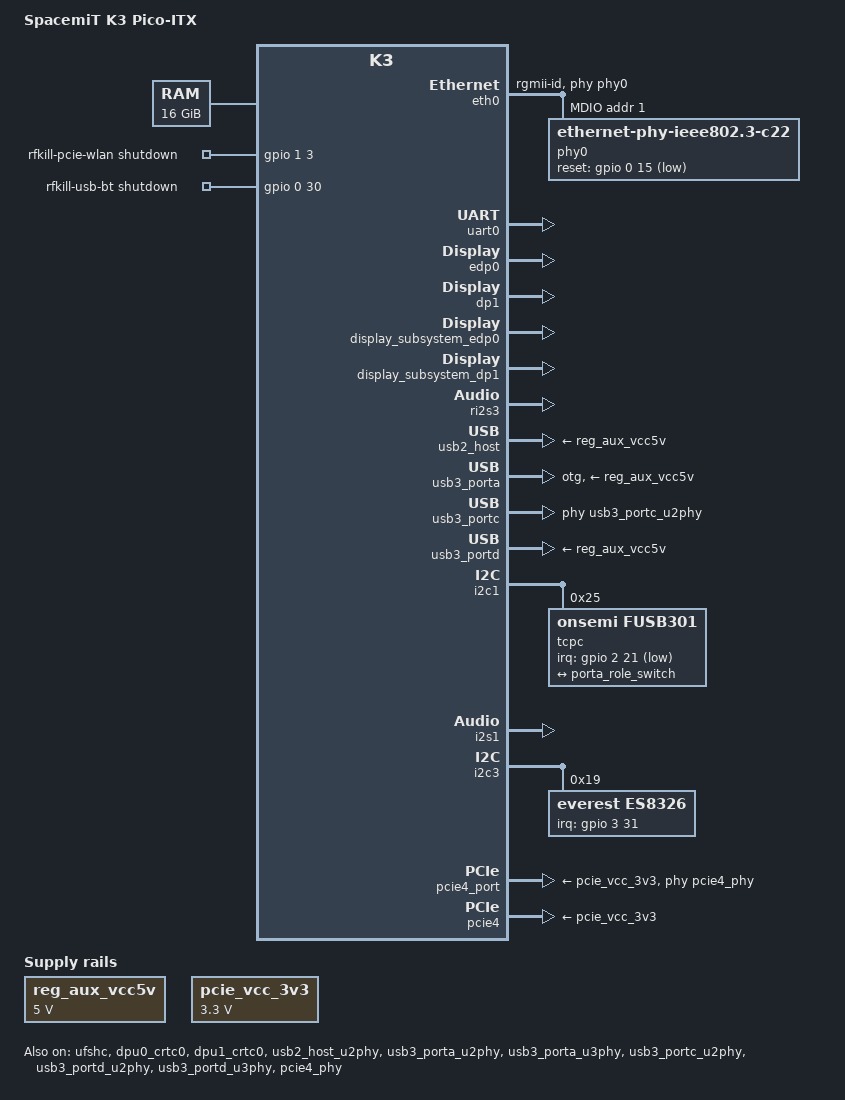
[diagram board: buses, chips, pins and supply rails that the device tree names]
// SPDX-License-Identifier: (GPL-2.0 OR MIT)
/*
 * Copyright (c) 2026 SpacemiT (Hangzhou) Technology Co. Ltd
 * Copyright (c) 2026 Guodong Xu <guodong@riscstar.com>
 */
#include <dt-bindings/gpio/gpio.h>

#include "k3.dtsi"
#include "k3-pinctrl.dtsi"

/ {
	model = "SpacemiT K3 Pico-ITX";
	compatible = "spacemit,k3-pico-itx", "spacemit,k3";

	aliases {
		ethernet0 = &eth0;
		serial0 = &uart0;
	};

	chosen {
		stdout-path = "serial0";
	};

	memory@100000000 {
		device_type = "memory";
		reg = <0x1 0x00000000 0x4 0x00000000>;
	};

	reg_aux_vcc5v: regulator-aux-vcc5v {
		compatible = "regulator-fixed";
		regulator-name = "AUX_VCC5V";
		regulator-min-microvolt = <5000000>;
		regulator-max-microvolt = <5000000>;
		regulator-always-on;
	};

	pcie_vcc_3v3: regulator-pcie-vcc3v3 {
		compatible = "regulator-fixed";
		regulator-name = "PCIE_VCC3V3";
		regulator-min-microvolt = <3300000>;
		regulator-max-microvolt = <3300000>;
		regulator-always-on;
	};

	/*
	 * M.2 WiFi enable line (RTL8852BE on the PCIe x1 slot, port E / pcie4).
	 * rfkill-gpio drives WLAN_EN so the card powers up before PCIe link
	 * training; the radio itself enumerates as a PCI device on pcie4.
	 */
	rfkill-pcie-wlan {
		compatible = "rfkill-gpio";
		label = "rfkill-pcie-wlan";
		pinctrl-names = "default";
		pinctrl-0 = <&wlan_en_cfg>;
		radio-type = "wlan";
		shutdown-gpios = <&gpio 1 3 GPIO_ACTIVE_HIGH>;
	};

	/*
	 * Bluetooth enable line (Realtek RTL8852B, BT side of the combo).
	 * The controller enumerates over USB (btusb); rfkill-gpio drives
	 * BT_EN so the radio powers up.  Per the vendor K3 Pico-ITX BSP.
	 */
	rfkill-usb-bt {
		compatible = "rfkill-gpio";
		label = "rfkill-usb-bt";
		pinctrl-names = "default";
		pinctrl-0 = <&bt_en_cfg>;
		radio-type = "bluetooth";
		shutdown-gpios = <&gpio 0 30 GPIO_ACTIVE_HIGH>;
	};
};

&i2c8 {
	pinctrl-names = "default";
	pinctrl-0 = <&i2c8_cfg>;
	status = "disabled";

	p1@41 {
		compatible = "spacemit,p1";
		reg = <0x41>;
		status = "disabled";
		interrupts = <64 IRQ_TYPE_LEVEL_HIGH>;
		vin1-supply = <&reg_aux_vcc5v>;
		vin2-supply = <&reg_aux_vcc5v>;
		vin3-supply = <&reg_aux_vcc5v>;
		vin4-supply = <&reg_aux_vcc5v>;
		vin5-supply = <&reg_aux_vcc5v>;
		vin6-supply = <&reg_aux_vcc5v>;
		aldoin-supply = <&reg_aux_vcc5v>;
		dldoin1-supply = <&buck4>;
		dldoin2-supply = <&buck4>;

		regulators {
			buck1: buck1 {
				regulator-min-microvolt = <1050000>;
				regulator-max-microvolt = <1050000>;
				regulator-ramp-delay = <5000>;
				regulator-always-on;
			};

			buck2: buck2 {
				regulator-min-microvolt = <1050000>;
				regulator-max-microvolt = <1050000>;
				regulator-ramp-delay = <5000>;
				regulator-always-on;
			};

			buck3: buck3 {
				regulator-min-microvolt = <800000>;
				regulator-max-microvolt = <800000>;
				regulator-ramp-delay = <5000>;
				regulator-always-on;
			};

			buck4: buck4 {
				regulator-min-microvolt = <2100000>;
				regulator-max-microvolt = <2100000>;
				regulator-ramp-delay = <5000>;
				regulator-always-on;
			};

			buck5: buck5 {
				regulator-min-microvolt = <1800000>;
				regulator-max-microvolt = <1800000>;
				regulator-ramp-delay = <5000>;
				regulator-always-on;
			};

			buck6: buck6 {
				regulator-min-microvolt = <500000>;
				regulator-max-microvolt = <500000>;
				regulator-ramp-delay = <5000>;
				regulator-always-on;
			};

			aldo1: aldo1 {
				regulator-min-microvolt = <1800000>;
				regulator-max-microvolt = <3300000>;
				regulator-always-on;
				regulator-boot-on;
			};

			aldo2: aldo2 {
				regulator-min-microvolt = <1800000>;
				regulator-max-microvolt = <1800000>;
				regulator-always-on;
				regulator-boot-on;
			};

			aldo3: aldo3 {
				regulator-min-microvolt = <500000>;
				regulator-max-microvolt = <3400000>;
			};

			aldo4: aldo4 {
				regulator-min-microvolt = <3300000>;
				regulator-max-microvolt = <3300000>;
				regulator-always-on;
				regulator-boot-on;
			};

			dldo1: dldo1 {
				regulator-min-microvolt = <1200000>;
				regulator-max-microvolt = <1200000>;
				regulator-always-on;
				regulator-boot-on;
			};

			dldo2: dldo2 {
				regulator-min-microvolt = <900000>;
				regulator-max-microvolt = <900000>;
				regulator-always-on;
				regulator-boot-on;
			};

			dldo3: dldo3 {
				regulator-min-microvolt = <800000>;
				regulator-max-microvolt = <800000>;
				regulator-always-on;
				regulator-boot-on;
			};

			dldo4: dldo4 {
				regulator-min-microvolt = <1800000>;
				regulator-max-microvolt = <1800000>;
				regulator-boot-on;
			};

			dldo5: dldo5 {
				regulator-min-microvolt = <1800000>;
				regulator-max-microvolt = <1800000>;
				regulator-always-on;
				regulator-boot-on;
			};

			dldo6: dldo6 {
				regulator-min-microvolt = <1800000>;
				regulator-max-microvolt = <1800000>;
				regulator-always-on;
				regulator-boot-on;
			};

			dldo7: dldo7 {
				regulator-min-microvolt = <1800000>;
				regulator-max-microvolt = <1800000>;
				regulator-always-on;
				regulator-boot-on;
			};
		};
	};
};

&eth0 {
	pinctrl-names = "default";
	pinctrl-0 = <&gmac0_rgmii_0_cfg>, <&gmac0_phy_0_cfg>;
	phy-mode = "rgmii-id";
	phy-handle = <&phy0>;
	status = "okay";

	mdio {
		phy0: phy@1 {
			compatible = "ethernet-phy-ieee802.3-c22";
			reg = <1>;
			reset-gpios = <&gpio 0 15 GPIO_ACTIVE_LOW>;
			reset-assert-us = <10000>;
			reset-deassert-us = <10000>;
		};
	};
};

&uart0 {
	pinctrl-names = "default";
	pinctrl-0 = <&uart0_0_cfg>;
	status = "okay";
};

/* No eMMC fitted on the Pico-ITX; UFS is the boot storage (see &ufshc). */
&emmc {
	status = "disabled";
};

/*
 * UFS 2.2 controller (ufshc @ 0xc0e00000) — boot storage on the Muse
 * Pico-ITX (no eMMC fitted on that variant).  The M-PHY is integrated in
 * the controller IP (no separate PHY node/handle); ufs-spacemit.ko drives
 * the M-PHY init through the controller's own MMIO.  The SoC node lives in
 * k3.dtsi; clocks/reset come from syscon_apmu.
 */
&ufshc {
	status = "okay";
};

/*
 * CMA pool for contiguous DMA allocations (gralloc/minigbm framebuffers,
 * V4L2, etc.).  512 MiB carved from DRAM, matching the vendor K3 BSP.
 */
&resmem {
	cmamem: linux,cma {
		compatible = "shared-dma-pool";
		reusable;
		size = <0x0 0x20000000>;
		alloc-ranges = <0x1 0x0 0x1 0x0>;
		linux,cma-default;
	};
};

/*
 * Display pipeline (ported from the vendor K3 BSP).  The SoC-level nodes
 * live in k3.dtsi; here the board enables the external DP1 path (the eDP0
 * path stays disabled -- no eDP panel is fitted):
 *   - eDP0  (dpu0_crtc0 -> edp0): internal-panel DisplayPort
 *   - DP1   (dpu1_crtc0 -> dp1):  external DisplayPort routed to the
 *     USB-C connector (the FUSB301 Type-C controller carries USB data
 *     only; DP is driven straight from the inno-dp controller).
 *
 * The matching drivers are now in-tree, K3-gated and separate from the
 * K1 spacemit-drm.ko (HDMI): spacemit-drm-k3.ko (dpu-saturn CRTC +
 * saturn-hee/edp masters) + spacemit_inno_dp.ko (inno-edp0/inno-dp1
 * output).  The DP1 HPD pinctrl (dp1_1_cfg) is wired below; the eDP0-only
 * references (dp0_1_cfg, backlight, panel power/enable GPIOs) stay omitted
 * while that path is disabled.  Runtime scan-out and DP link-training still
 * need validation on the board.
 *
 * DP-audio (audio over the USB-C DisplayPort) is wired below via
 * sound_card_dp1: spacemit_inno_dp registers an ASoC codec ("inno-dp-audio",
 * playback-only) and dp@cac88000 carries #sound-dai-cells, so the DP is a
 * valid codec sink.  The CPU DAI is the RCPU-domain I2S "ri2s3"
 * (spacemit,k3-ri2s) fed by "adma3" (spacemit,k3-adma) and clocked by
 * syscon_rcpu_i2sctrl — all now in-tree and K3-only.  adma3 uses direct
 * hardware IRQs (no RT coprocessor / rpmsg).  Runtime audio still needs
 * validation on the board.
 */
/*
 * Display output.  The eDP0 internal-panel pipeline (dpu0_crtc0 / edp0 /
 * display_subsystem_edp0) stays disabled: no eDP panel is fitted on this
 * board.  The DP1 pipeline (enabled below) drives the external DisplayPort
 * on the USB-C connector; dpu1_crtc0 now carries
 * power-domains = <&power K3_PMU_LCD1_PWR_DOMAIN>, so the K3 RPMI genpd
 * powers the LCD1 island before the DPU driver touches its fabric-stalling
 * MMIO.
 */
&dpu0_crtc0 {
	memory-region = <&dpu_resv0>;
	status = "okay";
};

&edp0 {
	status = "okay";
};

&dpu1_crtc0 {
	memory-region = <&dpu_resv1>;
	status = "okay";
};

&dp1 {
	pinctrl-names = "default";
	pinctrl-0 = <&dp1_1_cfg>;
	status = "okay";
};

&display_subsystem_edp0 {
	status = "okay";
};

&display_subsystem_dp1 {
	status = "okay";
};

/*
 * DP-audio: route audio over the USB-C DisplayPort (DP1).  The RCPU I2S
 * "ri2s3" is the CPU DAI, fed by the "adma3" audio DMA; the codec sink is
 * the inno-dp1 controller (ASoC codec "inno-dp-audio").  K3-only stack.
 */
&adma3 {
	status = "okay";
};

&ri2s3 {
	status = "okay";
};

&sound_card_dp1 {
	status = "okay";
};

/*
 * USB2 host port (dwc3 @ 0xc0a00000 + USB2 PHY @ 0xc0a20000).
 * Host-only; powers downstream devices from the board 5V rail.
 */
&usb2_host_u2phy {
	status = "okay";
};

&usb2_host {
	vbus-supply = <&reg_aux_vcc5v>;
	status = "okay";
};

/*
 * USB3 port A (dwc3 @ 0xcad00000): dual-role, routed to the Type-C connector.
 * Combo PHY (USB3 @ 0xcad30000/0xcad40000) also provides the Type-C
 * orientation switch; USB2 PHY @ 0xcad20000.
 */
&usb3_porta_u2phy {
	status = "okay";
};

&usb3_porta_u3phy {
	/* dual-phy (USB3 SS vs DP) + orientation select from GPIO86 (SS_SW_3V3) */
	pinctrl-names = "default";
	pinctrl-0 = <&usb30_drd_dir_0_cfg>;
	status = "okay";
};

&usb3_porta {
	dr_mode = "otg";
	usb-role-switch;
	role-switch-default-mode = "peripheral";
	monitor-vbus;
	vbus-supply = <&reg_aux_vcc5v>;
	status = "okay";
};

&porta_role_switch {
	remote-endpoint = <&fusb301_ep>;
};

/*
 * USB3 port D (dwc3 @ 0x81a00000): host-only standard Type-A port.
 * USB2 PHY @ 0x81b00000, USB3 PHY @ 0x82100000 (combo lane bit 0).
 */
&usb3_portc_u2phy {
	status = "okay";
};

&usb3_portc {
	/* Bluetooth (RTL8852BE companion). USB2 only: the M.2 E-key slot
	 * exposes no SuperSpeed pair for it, so leave usb3_portc_u3phy
	 * disabled and drop it from phys, exactly as the vendor BSP does. */
	/delete-property/ phys;
	/delete-property/ phy-names;
	phys = <&usb3_portc_u2phy>;
	phy-names = "usb2-phy";
	maximum-speed = "high-speed";
	reset-on-resume;
	status = "okay";
};

&usb3_portd_u2phy {
	status = "okay";
};

&usb3_portd_u3phy {
	status = "okay";
};

&usb3_portd {
	vbus-supply = <&reg_aux_vcc5v>;
	status = "okay";
};

/*
 * FUSB301 Type-C DRP port controller on i2c1 (USB-C connector).
 * It manages USB data role + cable orientation only; the orientation switch
 * lives in the USB3 port A combo PHY (spacemit,k3-typec-switch) and DisplayPort
 * is driven directly by inno-dp (no DP mux through the FUSB301).
 *
 * The connector's data port is wired to the USB3 port A dwc3 role switch.
 *
 * The FUSB301 INT line is GPIO 2/21 (active-low), per the vendor K3 Pico-ITX
 * BSP; without it the driver bails out with -ENODEV. &usb3_porta runs
 * dr_mode = "otg" with usb-role-switch, so the FUSB301 flips dwc3 to
 * peripheral (registers a UDC) when a host is attached -- enabling ADB.
 */
&i2c1 {
	pinctrl-names = "default";
	pinctrl-0 = <&i2c1_3_cfg>;
	status = "okay";

	tcpc@25 {
		compatible = "onsemi,fusb301";
		reg = <0x25>;
		pinctrl-names = "default";
		pinctrl-0 = <&fusb301_cfg>;
		irq-gpios = <&gpio 2 21 GPIO_ACTIVE_LOW>;
		suspend-vbus-off;
		wakeup-source;
		status = "okay";

		connector {
			compatible = "usb-c-connector";
			label = "USB-C";
			data-role = "dual";
			power-role = "dual";
			try-power-role = "sink";
			typec-power-opmode = "default";
			pd-disable;

			ports {
				#address-cells = <1>;
				#size-cells = <0>;

				port@0 {
					reg = <0>;
					fusb301_ep: endpoint {
						remote-endpoint = <&porta_role_switch>;
					};
				};
			};
		};
	};
};

&i2s1 {
	pinctrl-names = "default";
	pinctrl-0 = <&sspa1_1_cfg>;
	status = "okay";
};

/*
 * Speaker audio: the Everest ES8326 codec sits on the secure TWSI3 bus and
 * is the sink for the "i2s1" CPU DAI above.
 */
&i2c3 {
	pinctrl-names = "default";
	pinctrl-0 = <&i2c3_1_cfg>;
	status = "okay";

	es8326: es8326@19 {
		compatible = "everest,es8326";
		reg = <0x19>;
		#sound-dai-cells = <0>;
		interrupt-parent = <&gpio>;
		interrupts = <3 31 IRQ_TYPE_EDGE_RISING>;
		everest,mic1-src = [44];
		everest,mic2-src = [66];
		everest,jack-detect-inverted;
	};
};

&sound_card1 {
	status = "okay";
	simple-audio-card,name = "snd-es8326";
	simple-audio-card,mclk-fs = <256>;

	simple-audio-card,dai-link@0 {
		format = "i2s";
		frame-master = <&link1_cpu>;
		bitclock-master = <&link1_cpu>;

		link1_cpu: cpu {
			sound-dai = <&i2s1>;
		};

		link1_codec: codec {
			sound-dai = <&es8326>;
		};
	};
};

/*
 * PCIe port E (pcie4, x1) -> M.2 WiFi slot (Realtek RTL8852BE).  The PHY,
 * the root-port PHY/supply binding and the controller are all enabled here;
 * the SoC nodes live in k3.dtsi.  Bringing up the link needs the real board.
 */
&pcie4_phy {
	status = "okay";
};

&pcie4_port {
	phys = <&pcie4_phy>;
	vpcie3v3-supply = <&pcie_vcc_3v3>;
};

&pcie4 {
	pinctrl-names = "default";
	pinctrl-0 = <&pcie4_0_cfg>;
	vpcie3v3-supply = <&pcie_vcc_3v3>;
	status = "okay";
};
